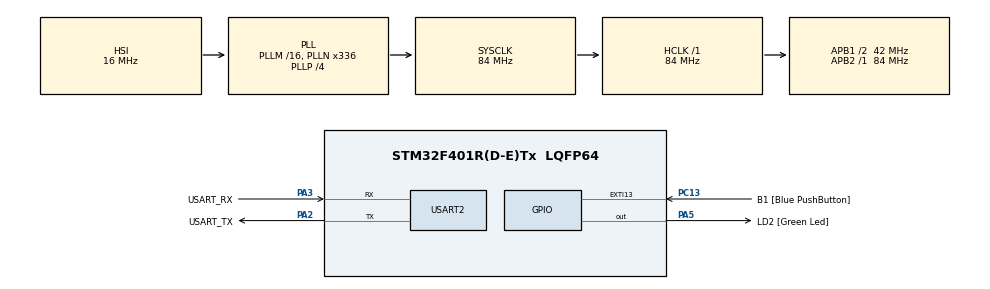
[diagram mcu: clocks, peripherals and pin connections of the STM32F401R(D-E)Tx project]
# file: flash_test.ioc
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Mcu.Family=STM32F4
Mcu.Name=STM32F401R(D-E)Tx
Mcu.Package=LQFP64
NVIC.PriorityGroup=NVIC_PRIORITYGROUP_4
PA13.GPIO_Label=TMS
PA13.Mode=Trace_Asynchronous_SW
PA13.Signal=SYS_JTMS-SWDIO
PA14.GPIO_Label=TCK
PA14.Mode=Trace_Asynchronous_SW
PA14.Signal=SYS_JTCK-SWCLK
PA2.GPIO_Label=USART_TX
PA2.GPIO_Mode=GPIO_MODE_AF_PP
PA2.GPIO_PuPd=GPIO_NOPULL
PA2.GPIO_Speed=GPIO_SPEED_FREQ_LOW
PA2.Mode=Asynchronous
PA2.Signal=USART2_TX
PA3.GPIO_Label=USART_RX
PA3.GPIO_Mode=GPIO_MODE_AF_PP
PA3.GPIO_PuPd=GPIO_NOPULL
PA3.GPIO_Speed=GPIO_SPEED_FREQ_LOW
PA3.Mode=Asynchronous
PA3.Signal=USART2_RX
PA5.GPIO_Label=LD2 [Green Led]
PA5.GPIO_Mode=GPIO_MODE_OUTPUT_PP
PA5.GPIO_PuPd=GPIO_NOPULL
PA5.GPIO_Speed=GPIO_SPEED_FREQ_LOW
PA5.Signal=GPIO_Output
PB3.GPIO_Label=SWO
PB3.Mode=Trace_Asynchronous_SW
PB3.Signal=SYS_JTDO-SWO
PC13-ANTI_TAMP.GPIO_Label=B1 [Blue PushButton]
PC13-ANTI_TAMP.GPIO_ModeDefaultEXTI=GPIO_MODE_IT_FALLING
PC13-ANTI_TAMP.GPIO_PuPd=GPIO_NOPULL
PC13-ANTI_TAMP.Signal=GPXTI13
PC14-OSC32_IN.Mode=LSE-External-Oscillator
PC14-OSC32_IN.Signal=RCC_OSC32_IN
PC15-OSC32_OUT.Mode=LSE-External-Oscillator
PC15-OSC32_OUT.Signal=RCC_OSC32_OUT
PH0\ -\ OSC_IN.Mode=HSE-External-Clock-Source
PH0\ -\ OSC_IN.Signal=RCC_OSC_IN
PH1\ -\ OSC_OUT.Mode=HSE-External-Clock-Source
PH1\ -\ OSC_OUT.Signal=RCC_OSC_OUT
ProjectManager.HeapSize=0x200
ProjectManager.StackSize=0x400
ProjectManager.TargetToolchain=STM32CubeIDE
RCC.48MHZClocksFreq_Value=48000000
RCC.AHBFreq_Value=84000000
RCC.APB1CLKDivider=RCC_HCLK_DIV2
RCC.APB1Freq_Value=42000000
RCC.APB1TimFreq_Value=84000000
RCC.APB2Freq_Value=84000000
RCC.APB2TimFreq_Value=84000000
RCC.CortexFreq_Value=84000000
RCC.HCLKFreq_Value=84000000
RCC.HSE_VALUE=8000000
RCC.HSI_VALUE=16000000
RCC.PLLN=336
RCC.PLLP=RCC_PLLP_DIV4
RCC.PLLQ=7
RCC.SYSCLKFreq_VALUE=84000000
RCC.SYSCLKSource=RCC_SYSCLKSOURCE_PLLCLK
RCC.VCOOutputFreq_Value=336000000
USART2.VirtualMode=VM_ASYNC
board=NUCLEO-F401RE

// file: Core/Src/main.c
/* USER CODE BEGIN Header */
/**
  ******************************************************************************
  * @file           : main.c
  * @brief          : Main program body
  ******************************************************************************
  * @attention
  *
  * Copyright (c) 2025 STMicroelectronics.
  * All rights reserved.
  *
  * This software is licensed under terms that can be found in the LICENSE file
  * in the root directory of this software component.
  * If no LICENSE file comes with this software, it is provided AS-IS.
  *
  ******************************************************************************
  */
/* USER CODE END Header */
#include "main.h"
#include "usart.h"
#include "gpio.h"

/* USER CODE BEGIN Includes */
#include <stdio.h>
#include <string.h>
/* USER CODE END Includes */

void SystemClock_Config(void);

int main(void)
{

  /* MCU Configuration--------------------------------------------------------*/

  /* Reset of all peripherals, Initializes the Flash interface and the Systick. */
  HAL_Init();

  /* Configure the system clock */
  SystemClock_Config();

  /* Initialize all configured peripherals */
  MX_GPIO_Init();
  MX_USART2_UART_Init();
  /* USER CODE BEGIN 2 */

  /* Delay ajouté pour éviter une condition de concurrence
  voir : https://www.linkedin.com/safety/go?url=https%3A%2F%2Fcommunity.st.com%2Ft5%2Fstm32-mcus-products%2Fforced-to-mass-erase-after-successfully-programming-flash-on%2Fm-p%2F792696%23M276972&trk=flagship-messaging-web&messageThreadUrn=urn%3Ali%3AmessagingThread%3A2-ZWNjM2ViZDMtNGMwMy00YjUwLThiNjYtNTQ4NjE2MjcyZTI5XzEwMA%3D%3D&lipi=urn%3Ali%3Apage%3Ad_flagship3_profile_view_base%3BsTrrAu1EQA6UGboIfzuXpg%3D%3D
  */

  HAL_Delay(1000);

  FLASH_EraseInitTypeDef erase_op;
  erase_op.TypeErase = FLASH_TYPEERASE_SECTORS;
  erase_op.Sector = FLASH_SECTOR_7;
  erase_op.NbSectors = 1;
  erase_op.VoltageRange = FLASH_VOLTAGE_RANGE_3;

  uint32_t err;
  if(HAL_FLASH_Unlock() == HAL_OK)
	  printf("Unlocked flash!\r\n");

  if(HAL_FLASHEx_Erase(&erase_op, &err) == HAL_OK)
	  printf("Erased memory!\r\n");

  char str[] = "Les ESE sont meilleurs que les MT";

  uint32_t *p = (uint32_t *)0x08060000;
  for(uint32_t count = 0; count < (sizeof(str)/sizeof(uint32_t))+1; count++)
  {
	  if(HAL_FLASH_Program(FLASH_TYPEPROGRAM_WORD, (uint32_t)p++, *((uint32_t *)str+count)) != HAL_OK)
	  	  printf("There was a problem programming the flash\r\n");
  }

  // set flash programming bit in the flash cr
  FLASH->CR = FLASH->CR | 0x01;

  *(uint32_t *)0x08060028 = *(uint32_t *)"abcd";

  if(HAL_FLASH_Lock() == HAL_OK)
	  printf("Locked flash!\r\n");

  /* USER CODE END 2 */

  /* Infinite loop */
  while (1)
  {

  }
}

void SystemClock_Config(void)
{
  RCC_OscInitTypeDef RCC_OscInitStruct = {0};
  RCC_ClkInitTypeDef RCC_ClkInitStruct = {0};

  /** Configure the main internal regulator output voltage
  */
  __HAL_RCC_PWR_CLK_ENABLE();
  __HAL_PWR_VOLTAGESCALING_CONFIG(PWR_REGULATOR_VOLTAGE_SCALE2);

  /** Initializes the RCC Oscillators according to the specified parameters
  * in the RCC_OscInitTypeDef structure.
  */
  RCC_OscInitStruct.OscillatorType = RCC_OSCILLATORTYPE_HSI;
  RCC_OscInitStruct.HSIState = RCC_HSI_ON;
  RCC_OscInitStruct.HSICalibrationValue = RCC_HSICALIBRATION_DEFAULT;
  RCC_OscInitStruct.PLL.PLLState = RCC_PLL_ON;
  RCC_OscInitStruct.PLL.PLLSource = RCC_PLLSOURCE_HSI;
  RCC_OscInitStruct.PLL.PLLM = 16;
  RCC_OscInitStruct.PLL.PLLN = 336;
  RCC_OscInitStruct.PLL.PLLP = RCC_PLLP_DIV4;
  RCC_OscInitStruct.PLL.PLLQ = 7;
  if (HAL_RCC_OscConfig(&RCC_OscInitStruct) != HAL_OK)
  {
    Error_Handler();
  }

  /** Initializes the CPU, AHB and APB buses clocks
  */
  RCC_ClkInitStruct.ClockType = RCC_CLOCKTYPE_HCLK|RCC_CLOCKTYPE_SYSCLK
                              |RCC_CLOCKTYPE_PCLK1|RCC_CLOCKTYPE_PCLK2;
  RCC_ClkInitStruct.SYSCLKSource = RCC_SYSCLKSOURCE_PLLCLK;
  RCC_ClkInitStruct.AHBCLKDivider = RCC_SYSCLK_DIV1;
  RCC_ClkInitStruct.APB1CLKDivider = RCC_HCLK_DIV2;
  RCC_ClkInitStruct.APB2CLKDivider = RCC_HCLK_DIV1;

  if (HAL_RCC_ClockConfig(&RCC_ClkInitStruct, FLASH_LATENCY_2) != HAL_OK)
  {
    Error_Handler();
  }
}

void Error_Handler(void)
{
  __disable_irq();
  while (1)
  {
  }
}
